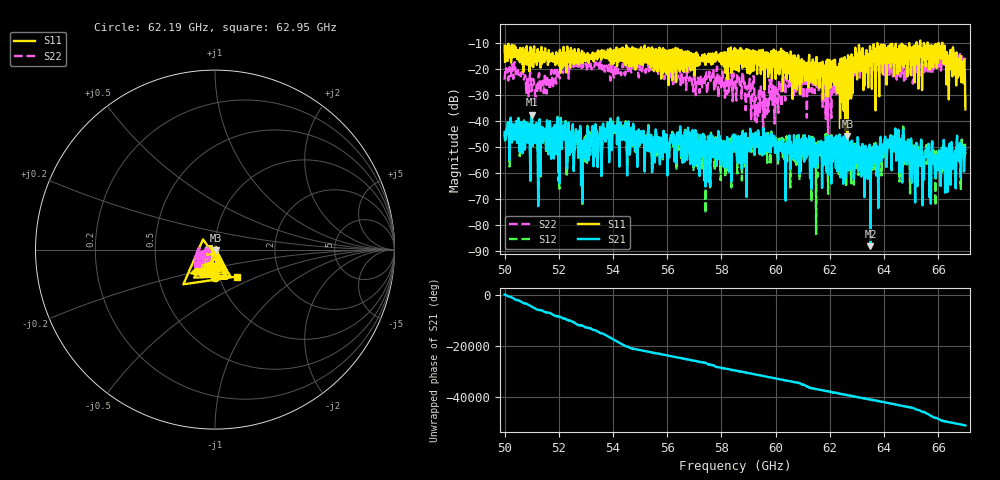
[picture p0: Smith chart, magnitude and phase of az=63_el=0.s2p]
!Created with skrf (http://scikit-rf.org).
# GHz S RI R 50.0
!freq ReS11 ImS11 ReS21 ImS21 ReS12 ImS12 ReS22 ImS22
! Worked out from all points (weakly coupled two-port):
!   1001 points, 50 GHz to 67 GHz, reference 50 ohm
!   highest |S21| = -37.35 dB at 51 GHz (marker M1); lowest = -88.0 dB at 63.5 GHz (marker M2)
!   lowest |S11| = -45.6 dB at 62.65 GHz (marker M3), VSWR 1.01, Z = 50.4 - j0.304 ohm
!   |S11| at or under -10 dB: start of sweep to 63.75 GHz; 63.75 GHz to 64.93 GHz (1.172 GHz wide, 1.82 % of centre); 66.15 GHz to end of sweep (the widest 3 of 9)
!   |S22| runs from -47.5 to -14.1 dB; largest |S21 - S12| = 0.0025
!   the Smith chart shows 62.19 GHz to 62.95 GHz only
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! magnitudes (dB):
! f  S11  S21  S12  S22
! 50 GHz  -10.9  -44.0  -44.7  -24.0
! 51 GHz  -14.5  -37.3  -37.5  -28.1
! 52.07 GHz  -14.8  -39.0  -38.6  -20.7
! 52.16 GHz  -15.2  -43.8  -43.6  -21.4
! 52.35 GHz  -17.2  -41.8  -41.9  -20.6
! 52.43 GHz  -15.3  -50.1  -49.6  -17.4
! 52.84 GHz  -14.4  -47.5  -48.0  -19.5
! 54.11 GHz  -13.4  -41.8  -42.0  -20.7
! 55.68 GHz  -14.4  -46.0  -45.8  -22.3
! 58.5 GHz  -19.9  -45.6  -44.1  -25.1
! 59.61 GHz  -13.5  -45.0  -47.8  -38.4
! 59.84 GHz  -12.9  -44.5  -43.9  -24.7
! 60.64 GHz  -14.8  -54.2  -54.7  -22.8
! 61.34 GHz  -24.2  -48.7  -48.2  -26.2
! 62 GHz  -16.4  -56.4  -52.7  -25.5
! 62.65 GHz  -45.6  -46.6  -47.3  -23.3
! 63.01 GHz  -23.8  -51.4  -49.3  -20.5
! 63.5 GHz  -14.9  -88.0  -61.1  -17.8
! 64.18 GHz  -17.6  -49.8  -50.0  -18.6
! 66.08 GHz  -15.9  -64.8  -63.6  -15.7
! 66.9 GHz  -17.3  -50.8  -49.8  -15.1
! 67 GHz  -35.3  -50.8  -52.6  -15.5
